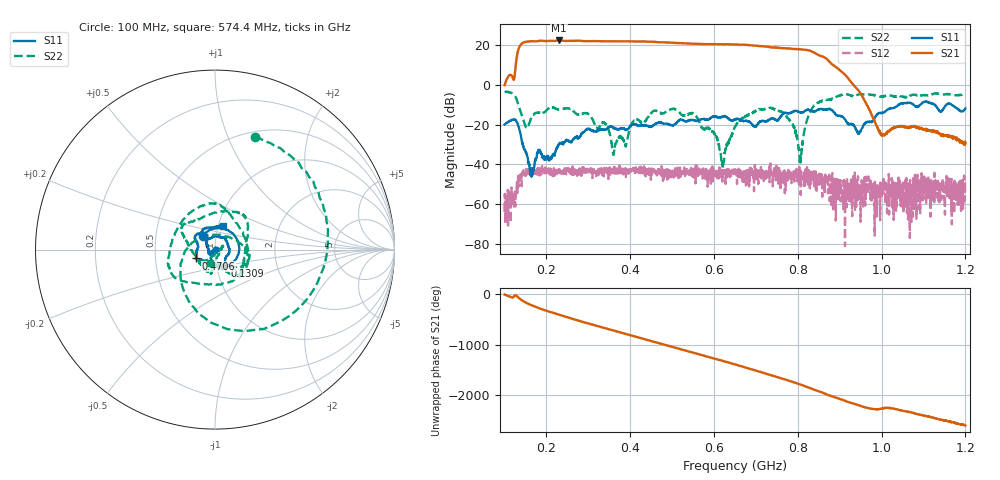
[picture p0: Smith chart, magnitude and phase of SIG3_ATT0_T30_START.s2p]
# Hz S DB R 50
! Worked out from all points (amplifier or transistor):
!   1601 points, 100 MHz to 1.2 GHz, reference 50 ohm
!   highest |S21| = 22.4 dB at 229.9 MHz (marker M1)
!   |S21| within 3 dB of that: 135.9 MHz to 720.5 MHz (584.6 MHz wide, 137 % of centre) (the widest 1 of 2)
!   unconditionally stable (mu >= 1): start of sweep to end of sweep
!   at 282.9 MHz: K = 5.00, MAG = 22.3 dB, |S12| = -42.4 dB
!   at 650 MHz: K = 7.38, MAG = 20.5 dB, |S12| = -43.9 dB
!   at 1.2 GHz: K = 2769.51, MAG = -27.2 dB, |S12| = -49.9 dB
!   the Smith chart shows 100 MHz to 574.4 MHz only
!   S11 on the Smith chart (normalised r, x): 100 MHz: 0.86, +0.13; 130.9 MHz: 1.10, -0.20; 470.6 MHz: 0.81, -0.08; 574.4 MHz: 1.05, +0.29
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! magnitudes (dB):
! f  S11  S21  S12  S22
! 100 MHz  -19.9  -0.1  -63.9  -3.6
! 130.9 MHz  -19.4  16.3  -49.8  -8.6
! 151.6 MHz  -33.9  21.7  -41.8  -21.4
! 165.3 MHz  -43.1  22.0  -45.2  -15.8
! 180.4 MHz  -32.8  22.1  -42.8  -13.9
! 229.9 MHz  -29.8  22.4  -42.7  -12.4
! 283.6 MHz  -24.8  22.1  -45.8  -14.7
! 341.3 MHz  -22.4  21.9  -43.8  -19.7
! 360.6 MHz  -21.4  22.0  -43.9  -35.0
! 467.1 MHz  -19.0  21.5  -44.4  -13.6
! 470.6 MHz  -18.7  21.5  -43.6  -14.1
! 574.4 MHz  -17.1  20.6  -42.0  -22.0
! 601.9 MHz  -15.9  20.5  -44.3  -24.8
! 620.4 MHz  -15.9  20.4  -43.0  -39.0
! 650 MHz  -17.5  20.3  -43.9  -21.1
! 757.9 MHz  -16.4  18.6  -42.6  -13.2
! 806.1 MHz  -13.8  17.9  -43.1  -39.1
! 833.6 MHz  -13.2  16.9  -43.1  -11.9
! 945.6 MHz  -24.2  -3.0  -52.7  -4.8
! 996.5 MHz  -14.1  -24.5  -68.1  -5.9
! 1.017 GHz  -12.0  -23.4  -44.8  -5.2
! 1.2 GHz  -11.8  -29.4  -49.9  -4.5
